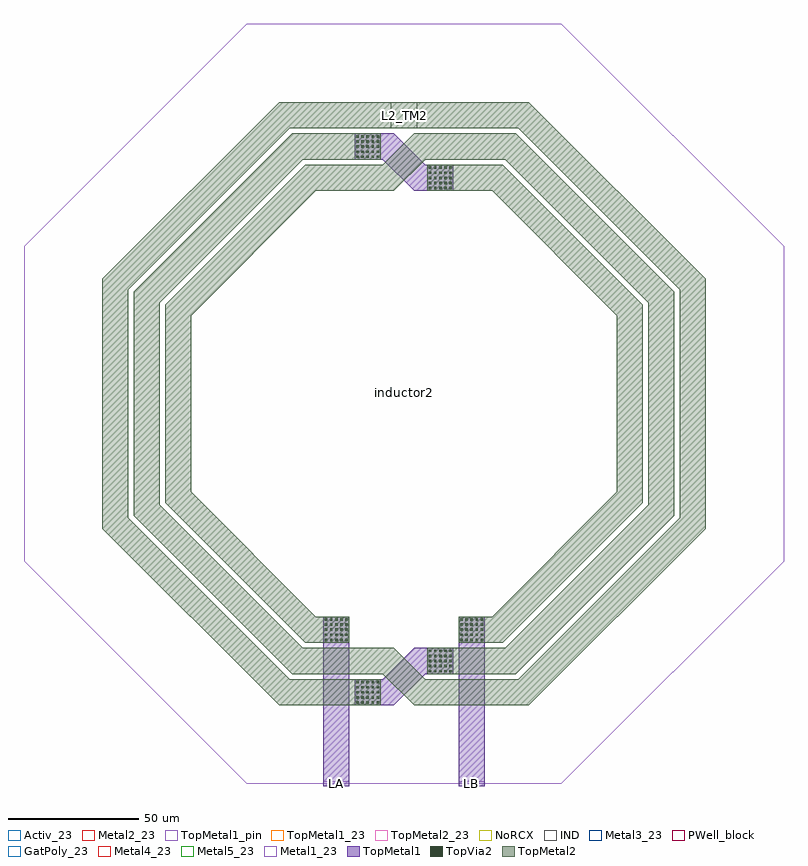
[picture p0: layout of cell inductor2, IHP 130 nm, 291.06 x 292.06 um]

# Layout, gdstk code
import gdstk
lib = gdstk.Library(unit=1e-6, precision=1e-09)
def R(c, l, rs):  # rectangles x0, y0, x1, y1
    for r in rs: c.add(gdstk.rectangle(r[:2], r[2:], *l))
def A(c, l, x, y, w, h, nx, ny, dx, dy):  # array of equal rectangles
    R(c, l, [(x+i*dx, y+j*dy, x+i*dx+w, y+j*dy+h) for i in range(nx) for j in range(ny)])
def P(c, l, *ps):  # polygons
    for p in ps: c.add(gdstk.Polygon(p, *l))
Activ_23 = (1, 23)
GatPoly_23 = (5, 23)
Metal1_23 = (8, 23)
Metal2_23 = (10, 23)
IND = (27, 0)
Metal3_23 = (30, 23)
PWell_block = (46, 21)
Metal4_23 = (50, 23)
Metal5_23 = (67, 23)
TopMetal1 = (126, 0)
TopMetal1_pin = (126, 2)
TopMetal1_23 = (126, 23)
TopVia2 = (133, 0)
TopMetal2 = (134, 0)
TopMetal2_23 = (134, 23)
NoRCX = (148, 0)

inductor2 = lib.new_cell('inductor2')
P(inductor2, Activ_23, [(-60.28,0),(-145.53,85.25),(-145.53,205.81),(-60.28,291.06),(60.28,291.06),(145.53,205.81),(145.53,85.25),(60.28,0)])
P(inductor2, GatPoly_23, [(-60.28,0),(-145.53,85.25),(-145.53,205.81),(-60.28,291.06),(60.28,291.06),(145.53,205.81),(145.53,85.25),(60.28,0)])
P(inductor2, Metal1_23, [(-60.28,0),(-145.53,85.25),(-145.53,205.81),(-60.28,291.06),(60.28,291.06),(145.53,205.81),(145.53,85.25),(60.28,0)])
P(inductor2, Metal2_23, [(-60.28,0),(-145.53,85.25),(-145.53,205.81),(-60.28,291.06),(60.28,291.06),(145.53,205.81),(145.53,85.25),(60.28,0)])
R(inductor2, IND, [(-5.01,251.03,5.01,261.05)])
P(inductor2, Metal3_23, [(-60.28,0),(-145.53,85.25),(-145.53,205.81),(-60.28,291.06),(60.28,291.06),(145.53,205.81),(145.53,85.25),(60.28,0)])
P(inductor2, PWell_block, [(-60.28,0),(-145.53,85.25),(-145.53,205.81),(-60.28,291.06),(60.28,291.06),(145.53,205.81),(145.53,85.25),(60.28,0)])
P(inductor2, Metal4_23, [(-60.28,0),(-145.53,85.25),(-145.53,205.81),(-60.28,291.06),(60.28,291.06),(145.53,205.81),(145.53,85.25),(60.28,0)])
P(inductor2, Metal5_23, [(-60.28,0),(-145.53,85.25),(-145.53,205.81),(-60.28,291.06),(60.28,291.06),(145.53,205.81),(145.53,85.25),(60.28,0)])
P(inductor2, TopMetal1, [(3.95,227),(-8.07,239.02),(-18.915,239.02),(-18.915,249.02),(-3.95,249.02),(8.07,237),(18.915,237),(18.915,227)],
  [(-18.915,30),(-18.915,40),(-8.08,40),(3.92,52),(18.925,52),(18.925,42),(8.07,42),(-3.93,30)])
R(inductor2, TopMetal1_pin, [(-30.915,-1,-20.915,1), (20.915,-1,30.915,1)])
P(inductor2, TopMetal1_23, [(-60.28,0),(-145.53,85.25),(-145.53,205.81),(-60.28,291.06),(60.28,291.06),(145.53,205.81),(145.53,85.25),(60.28,0)])
A(inductor2, TopVia2, -18.285, 30.63, 0.9, 0.9, 5, 5, 1.96, 1.96)
A(inductor2, TopVia2, 9.555, 42.63, 0.9, 0.9, 5, 5, 1.96, 1.96)
A(inductor2, TopVia2, -30.285, 54.63, 0.9, 0.9, 5, 5, 1.96, 1.96)
A(inductor2, TopVia2, 21.545, 54.63, 0.9, 0.9, 5, 5, 1.96, 1.96)
A(inductor2, TopVia2, 9.545, 227.63, 0.9, 0.9, 5, 5, 1.96, 1.96)
A(inductor2, TopVia2, -18.285, 239.63, 0.9, 0.9, 5, 5, 1.96, 1.96)
R(inductor2, TopMetal2, [(-8.915,251.04,8.915,261.04)])
P(inductor2, TopMetal2, [(20.915,54),(20.915,64),(33.755,64),(81.5,111.745),(81.5,179.255),(33.755,227),(8.915,227),(8.915,237),(37.905,237),(91.5,183.405),(91.5,107.595),(37.905,54)],
  [(-37.905,54),(-91.5,107.595),(-91.5,183.405),(-37.905,237),(-8.915,237),(-8.915,227),(-33.755,227),(-81.5,179.255),(-81.5,111.745),(-33.755,64),(-20.915,64),(-20.915,54)],
  [(-8.915,227),(-8.915,237),(-8.07,237),(3.95,249.02),(8.915,249.02),(8.915,239.02),(8.1,239.02),(-3.92,227)],
  [(8.915,42),(8.915,52),(38.73,52),(93.51,106.78),(93.51,184.24),(38.73,239.02),(8.915,239.02),(8.915,249.02),(42.88,249.02),(103.51,188.39),(103.51,102.63),(42.88,42)],
  [(-42.88,42),(-103.51,102.63),(-103.51,188.39),(-42.88,249.02),(-8.915,249.02),(-8.915,239.02),(-38.73,239.02),(-93.51,184.24),(-93.51,106.78),(-38.73,52),(-8.915,52),(-8.915,42)],
  [(8.915,30),(8.915,40),(43.705,40),(105.52,101.815),(105.52,189.225),(43.705,251.04),(8.915,251.04),(8.915,261.04),(47.855,261.04),(115.52,193.375),(115.52,97.665),(47.855,30)],
  [(-47.855,30),(-115.52,97.665),(-115.52,193.375),(-47.855,261.04),(-8.915,261.04),(-8.915,251.04),(-43.705,251.04),(-105.52,189.225),(-105.52,101.815),(-43.705,40),(-8.915,40),(-8.915,30)],
  [(3.93,30),(-8.07,42),(-8.915,42),(-8.915,52),(-3.92,52),(8.08,40),(8.915,40),(8.915,30)])
P(inductor2, TopMetal2_23, [(-60.28,0),(-145.53,85.25),(-145.53,205.81),(-60.28,291.06),(60.28,291.06),(145.53,205.81),(145.53,85.25),(60.28,0)])
P(inductor2, NoRCX, [(-60.28,0),(-145.53,85.25),(-145.53,205.81),(-60.28,291.06),(60.28,291.06),(145.53,205.81),(145.53,85.25),(60.28,0)])
inductor2.add(gdstk.FlexPath([(25.915,-1),(25.915,64)], 10, ends="flush", simple_path=True, layer=126, datatype=0))  # TopMetal1
inductor2.add(gdstk.FlexPath([(-25.915,-1),(-25.915,64)], 10, ends="flush", simple_path=True, layer=126, datatype=0))  # TopMetal1
inductor2.add(gdstk.Label('L2_TM2', (0,256.04), layer=63, texttype=0))
inductor2.add(gdstk.Label('l=3n', (0,259.373), layer=63, texttype=0))
inductor2.add(gdstk.Label('r=1m', (0,252.707), layer=63, texttype=0))
inductor2.add(gdstk.Label('LB', (25.915,0), layer=63, texttype=0))
inductor2.add(gdstk.Label('LA', (-25.915,0), layer=63, texttype=0))
inductor2.add(gdstk.Label('inductor2', (0,149.785), layer=63, texttype=0))

lib.write_gds('inductor2.gds')
